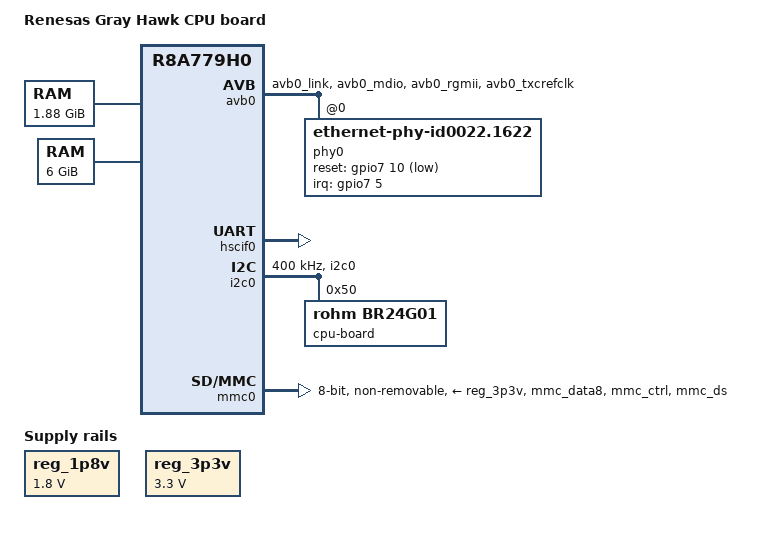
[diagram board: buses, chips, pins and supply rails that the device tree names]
// SPDX-License-Identifier: (GPL-2.0-only OR BSD-2-Clause)
/*
 * Device Tree Source for the Gray Hawk CPU board
 *
 * Copyright (C) 2023 Renesas Electronics Corp.
 */

#include <dt-bindings/gpio/gpio.h>
#include <dt-bindings/input/input.h>

#include "r8a779h0.dtsi"

/ {
	model = "Renesas Gray Hawk CPU board";
	compatible = "renesas,grayhawk-cpu", "renesas,r8a779h0";

	aliases {
		ethernet0 = &avb0;
		serial0 = &hscif0;
	};

	chosen {
		bootargs = "ignore_loglevel";
		stdout-path = "serial0:921600n8";
	};

	memory@48000000 {
		device_type = "memory";
		/* first 128MB is reserved for secure area. */
		reg = <0x0 0x48000000 0x0 0x78000000>;
	};

	memory@480000000 {
		device_type = "memory";
		reg = <0x4 0x80000000 0x1 0x80000000>;
	};

	reg_1p8v: regulator-1p8v {
			compatible = "regulator-fixed";
			regulator-name = "fixed-1.8V";
			regulator-min-microvolt = <1800000>;
			regulator-max-microvolt = <1800000>;
			regulator-boot-on;
			regulator-always-on;
	};

	reg_3p3v: regulator-3p3v {
			compatible = "regulator-fixed";
			regulator-name = "fixed-3.3V";
			regulator-min-microvolt = <3300000>;
			regulator-max-microvolt = <3300000>;
			regulator-boot-on;
			regulator-always-on;
	};
};

&avb0 {
	pinctrl-0 = <&avb0_pins>;
	pinctrl-names = "default";
	phy-handle = <&phy0>;
	tx-internal-delay-ps = <2000>;
	status = "okay";

	phy0: ethernet-phy@0 {
		compatible = "ethernet-phy-id0022.1622",
			     "ethernet-phy-ieee802.3-c22";
		rxc-skew-ps = <1500>;
		reg = <0>;
		interrupt-parent = <&gpio7>;
		interrupts = <5 IRQ_TYPE_LEVEL_LOW>;
		reset-gpios = <&gpio7 10 GPIO_ACTIVE_LOW>;
	};
};

&extal_clk {
	clock-frequency = <16666666>;
};

&extalr_clk {
	clock-frequency = <32768>;
};

&hscif0 {
	uart-has-rtscts;
	status = "okay";
};

&i2c0 {
	pinctrl-0 = <&i2c0_pins>;
	pinctrl-names = "default";

	status = "okay";
	clock-frequency = <400000>;

	eeprom@50 {
		compatible = "rohm,br24g01", "atmel,24c01";
		label = "cpu-board";
		reg = <0x50>;
		pagesize = <8>;
	};
};

&mmc0 {
	pinctrl-0 = <&mmc_pins>;
	pinctrl-1 = <&mmc_pins>;
	pinctrl-names = "default", "state_uhs";

	vmmc-supply = <&reg_3p3v>;
	vqmmc-supply = <&reg_1p8v>;
	mmc-hs200-1_8v;
	mmc-hs400-1_8v;
	bus-width = <8>;
	no-sd;
	no-sdio;
	non-removable;
	full-pwr-cycle-in-suspend;
	status = "okay";
};

&pfc {
	pinctrl-0 = <&scif_clk_pins>;
	pinctrl-names = "default";

	avb0_pins: avb0 {
		mux {
			groups = "avb0_link", "avb0_mdio", "avb0_rgmii",
				 "avb0_txcrefclk";
			function = "avb0";
		};

		pins_mdio {
			groups = "avb0_mdio";
			drive-strength = <21>;
		};

		pins_mii {
			groups = "avb0_rgmii";
			drive-strength = <21>;
		};
	};

	hscif0_pins: hscif0 {
		groups = "hscif0_data", "hscif0_ctrl";
		function = "hscif0";
	};

	i2c0_pins: i2c0 {
		groups = "i2c0";
		function = "i2c0";
	};

	mmc_pins: mmc {
		groups = "mmc_data8", "mmc_ctrl", "mmc_ds";
		function = "mmc";
		power-source = <1800>;
	};

	scif_clk_pins: scif_clk {
		groups = "scif_clk";
		function = "scif_clk";
	};
};

&scif_clk {
	clock-frequency = <24000000>;
};
